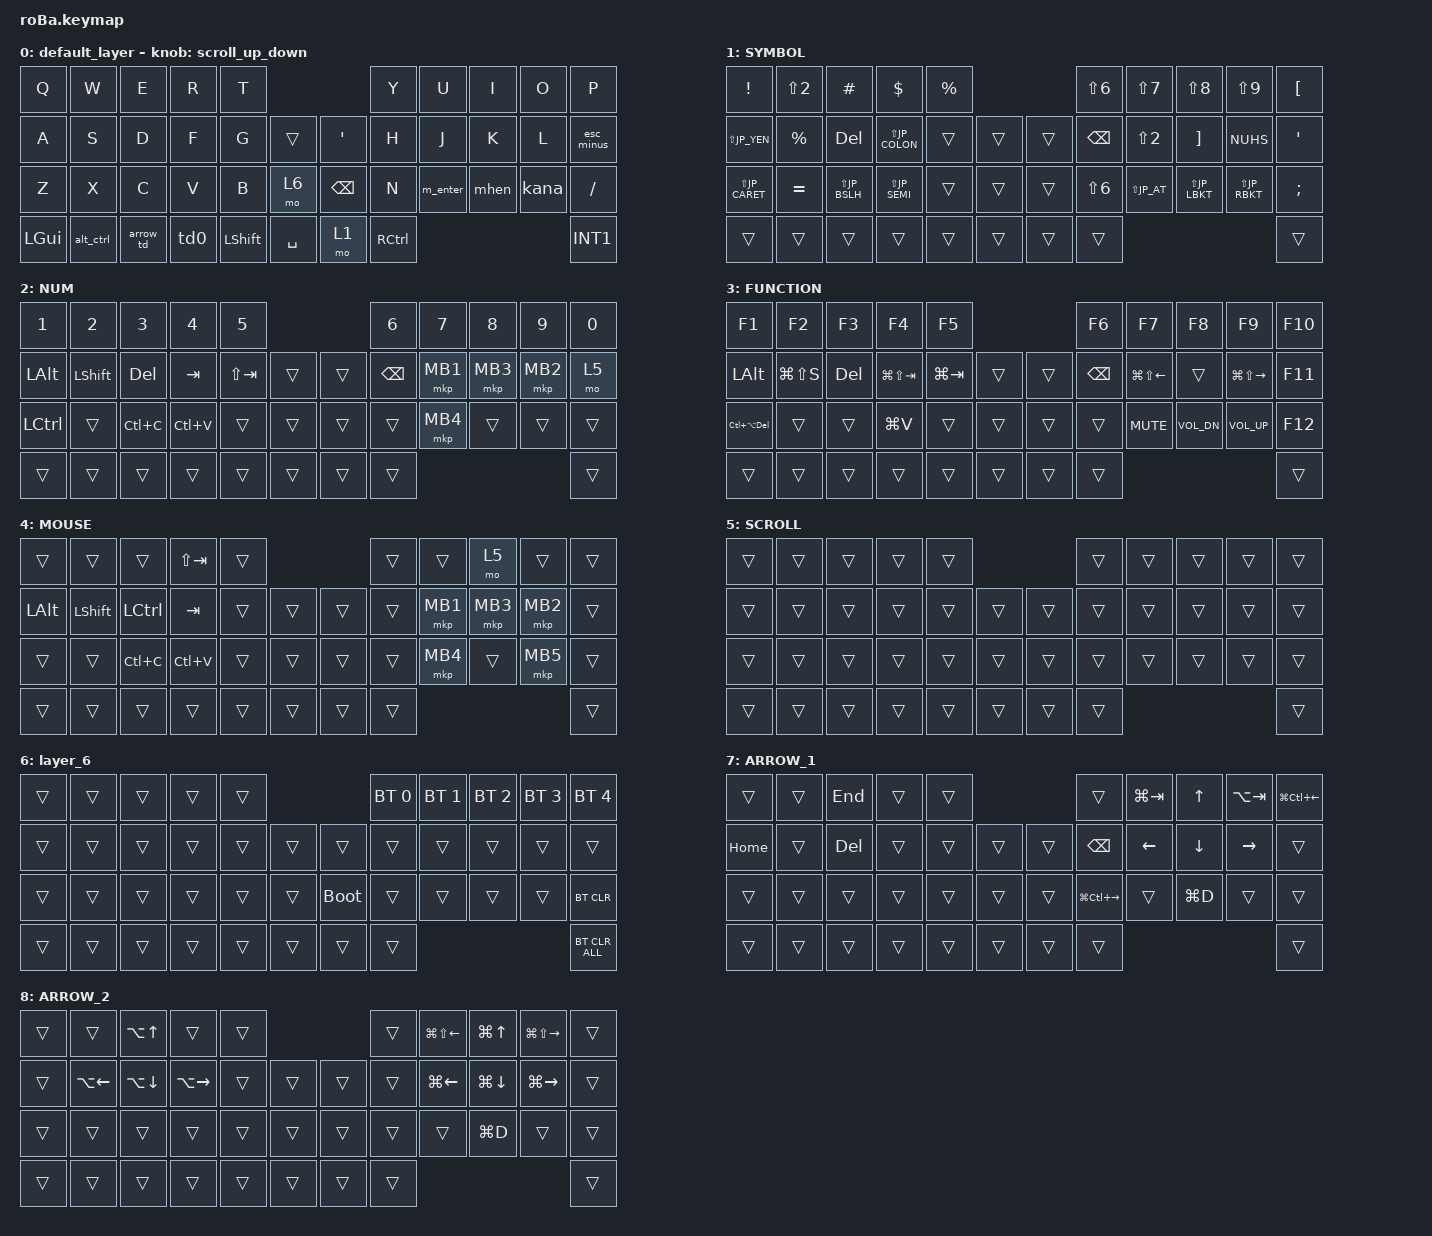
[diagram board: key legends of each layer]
#include <behaviors.dtsi>
#include <dt-bindings/zmk/bt.h>
#include <dt-bindings/zmk/keys.h>
#include <dt-bindings/zmk/pointing.h>

#define ZMK_POINTING_DEFAULT_SCRL_VAL 100

#define JP_ZKHK  GRAVE        // Zenkaku ↔ Hankaku ↔ Kanji (半角 ↔ 全角 ↔ 漢字)
#define JP_MINUS MINUS        // -
#define JP_CARET EQUAL        // ^
#define JP_YEN   INT3         // ¥
#define JP_AT    LBKT         // @
#define JP_LBKT  RBKT         // [
#define JP_EISU  CAPS         // Eisū (英数)
#define JP_SEMI  SEMI         // ;
#define JP_COLON SQT          // :
#define JP_RBKT  NUHS         // ]
#define JP_COMMA COMMA        // ,
#define JP_DOT   DOT          // .
#define JP_SLASH SLASH        // /
#define JP_BSLH  INT1         // (backslash)
#define JP_MHEN  INT5         // Muhenkan (無変換)
#define JP_HENK  INT4         // Henkan (変換)
#define JP_KANA  INT2         // Katakana ↔ Hiragana ↔ Rōmaji (カタカナ ↔ ひらがな ↔ ローマ字)
#define JP_EXCL  LS(N1)       // !
#define JP_DQT   LS(N2)       // "
#define JP_HASH  LS(N3)       // #
#define JP_DLLR  LS(N4)       // $
#define JP_PRCNT LS(N5)       // %
#define JP_AMPS  LS(N6)       // &
#define JP_SQT   LS(N7)       // '
#define JP_LPAR  LS(N8)       // (
#define JP_RPAR  LS(N9)       // )
#define JP_EQUAL LS(JP_MINUS) // =
#define JP_TILDE LS(JP_CARET) // ~
#define JP_PIPE  LS(JP_YEN)   // |
#define JP_GRAVE LS(JP_AT)    // `
#define JP_LBRC  LS(JP_LBKT)  // {
#define JP_CAPS  LS(JP_EISU)  // Caps Lock
#define JP_PLUS  LS(JP_SEMI)  // +
#define JP_ASTRK LS(JP_COLON) // *
#define JP_RBRC  LS(JP_RBKT)  // }
#define JP_LT    LS(JP_COMMA) // <
#define JP_RT    LS(JP_DOT)   // >
#define JP_QMARK LS(JP_SLASH) // ?
#define JP_UNDER LS(JP_BSLH)  // _

&mt {
    flavor = "balanced";
    quick-tap-ms = <0>;
};

&trackball {
    // automouse-layer = <4>;
    scroll-layers = <5>;

    // arrows {
    //     layers = <3>;
    //     bindings =
    //         <&kp RIGHT_ARROW>,
    //         <&kp LEFT_ARROW>,
    //         <&kp UP_ARROW>,
    //         <&kp DOWN_ARROW>;
    //     tick = <10>;
    //     wait-ms = <5>;
    //     tap-ms = <5>;
    // };
};

/ {
    combos {
        compatible = "zmk,combos";

        tab {
            bindings = <&kp TAB>;
            key-positions = <12 13>;
        };

        shift_tab {
            bindings = <&kp LS(TAB)>;
            key-positions = <12 11>;
        };

        enter {
            bindings = <&kp ENTER>;
            key-positions = <13 18>;
        };
    };

    macros {
        to_layer_0: to_layer_0 {
            compatible = "zmk,behavior-macro-one-param";
            #binding-cells = <1>;
            bindings = <&to 0 &macro_param_1to1 &kp MACRO_PLACEHOLDER>;
            label = "TO_LAYER_0";
        };
        to_0_ctrl: to_0_ctrl {
            compatible = "zmk,behavior-macro";
            #binding-cells = <0>;
            bindings
                = <&macro_press &to 0 &kp RCTRL>
                , <&macro_pause_for_release>
                , <&macro_release &to 0 &kp RCTRL>
                ;
        };
        to_0_mb1: to_0_mb1 {
            compatible = "zmk,behavior-macro";
            #binding-cells = <0>;
            bindings
                = <&macro_press &mkp MB1>
                , <&macro_pause_for_release>
                , <&macro_release &mkp MB1>
                , <&macro_tap &to 0>
                ;
        };
    };

    behaviors {
        lt_to_layer_0: lt_to_layer_0 {
            compatible = "zmk,behavior-hold-tap";
            label = "LAYER_TAP_TO_0";
            bindings = <&mo>, <&to_layer_0>;

            #binding-cells = <2>;
            tapping-term-ms = <200>;
        };

        td0: tap_dance_0 {
            compatible = "zmk,behavior-tap-dance";
            #binding-cells = <0>;
            tapping-term-ms = <200>;
            bindings = <&mo 2>, <&mo 3>;
        };

        arrow_td: arrow_td {
            compatible = "zmk,behavior-tap-dance";
            #binding-cells = <0>;
            tapping-term-ms = <200>;
            bindings = <&mo 7>, <&mo 8>;
        };

        alt_ctrl: alt_ctrl {
            compatible = "zmk,behavior-tap-dance";
            #binding-cells = <0>;
            tapping-term-ms = <200>;
            bindings = <&kp LALT>, <&kp LCTRL>;
        };

        symbol_mouse: symbol_mouse {
            compatible = "zmk,behavior-tap-dance";
            #binding-cells = <0>;
            tapping-term-ms = <200>;
            bindings = <&mo 1>, <&mo 4>;
        };

        scroll_up_down: behavior_sensor_rotate_mouse_wheel_up_down {
            compatible = "zmk,behavior-sensor-rotate";
            label = "zmk,keymap";
            #sensor-binding-cells = <0>;
            bindings = <&msc SCRL_DOWN>, <&msc SCRL_UP>;
            tap-ms = <20>;
        };

        m_enter: m_enter {
            compatible = "zmk,behavior-mod-morph";
            #binding-cells = <0>;
            bindings = <&kp M>, <&kp ENTER>;
            mods = <(MOD_RCTL)>;
        };

        esc_minus: esc_minus {
            compatible = "zmk,behavior-mod-morph";
            #binding-cells = <0>;
            bindings = <&kp MINUS>, <&kp ESC>;
            mods = <(MOD_RCTL)>;
        };

        kana: kana {
            compatible = "zmk,behavior-mod-morph";
            #binding-cells = <0>;
            bindings = <&kp DOT>, <&kp JP_KANA>;
            mods = <(MOD_RCTL)>;
        };

        mhen: mhen {
            compatible = "zmk,behavior-mod-morph";
            #binding-cells = <0>;
            bindings = <&kp COMMA>, <&kp JP_MHEN>;
            mods = <(MOD_RCTL)>;
        };

        trans_snipping: trans_snipping {
            compatible = "zmk,behavior-mod-morph";
            #binding-cells = <0>;
            bindings = <&trans>, <&kp LG(LS(S))>;
            mods = <(MOD_RCTL)>;
        };

        trans_clip_paste: trans_clip_paste {
            compatible = "zmk,behavior-mod-morph";
            #binding-cells = <0>;
            bindings = <&trans>, <&kp LG(V)>;
            mods = <(MOD_RCTL)>;
        };

        to0_mhen: to0_mhen {
            compatible = "zmk,behavior-mod-morph";
            #binding-cells = <0>;
            bindings = <&to 0>, <&kp JP_MHEN>;
            mods = <(MOD_RCTL)>;
        };

        scroll_esc: scroll_esc {
            compatible = "zmk,behavior-mod-morph";
            #binding-cells = <0>;
            bindings = <&mo 5>, <&kp ESC>;
            mods = <(MOD_RCTL)>;
        };
    };

    keymap {
        compatible = "zmk,keymap";

        default_layer {
            bindings = <
&kp Q     &kp W      &kp E      &kp R  &kp T                                   &kp Y  &kp U     &kp I  &kp O  &kp P
&kp A     &kp S      &kp D      &kp F  &kp G       &trans       &kp JP_COLON   &kp H  &kp J     &kp K  &kp L  &esc_minus
&kp Z     &kp X      &kp C      &kp V  &kp B       &mo 6        &kp BACKSPACE  &kp N  &m_enter  &mhen  &kana  &kp JP_SLASH
&kp LGUI  &alt_ctrl  &arrow_td  &td0   &kp LSHIFT  &kp SPACE    &mo 1          &kp RCTRL                      &kp JP_BSLH
            >;

            sensor-bindings = <&scroll_up_down>;
        };

        SYMBOL {
            bindings = <
&kp EXCL      &kp JP_DQT    &kp HASH      &kp DOLLAR    &kp PERCENT                        &kp JP_AMPS    &kp JP_SQT    &kp JP_LPAR  &kp JP_RPAR  &kp JP_AT
&kp JP_PIPE   &kp PERCENT   &kp DEL       &kp JP_ASTRK  &trans       &trans        &trans  &kp BACKSPACE  &kp JP_DQT    &kp JP_LBKT  &kp JP_RBKT  &kp JP_COLON
&kp JP_TILDE  &kp JP_CARET  &kp JP_UNDER  &kp JP_PLUS   &trans       &trans        &trans  &kp JP_AMPS    &kp JP_GRAVE  &kp JP_LBRC  &kp JP_RBRC  &kp JP_SEMI
&trans        &trans        &trans        &trans        &trans       &trans        &trans  &trans                                                 &trans
            >;
        };

        NUM {
            bindings = <
&kp N1     &kp N2      &kp N3     &kp N4     &kp N5                                       &kp N6         &kp N7    &kp N8    &kp N9    &kp N0
&kp LALT   &kp LSHIFT  &kp DEL    &kp TAB    &kp LS(TAB)  &trans                  &trans  &kp BACKSPACE  &mkp MB1  &mkp MB3  &mkp MB2  &mo 5
&kp LCTRL  &trans      &kp LC(C)  &kp LC(V)  &trans       &trans                  &trans  &trans         &mkp MB4  &trans    &trans    &trans
&trans     &trans      &trans     &trans     &trans       &trans                  &trans  &trans                                       &trans
            >;
        };

        FUNCTION {
            bindings = <
&kp F1           &kp F2         &kp F3   &kp F4           &kp F5                             &kp F6         &kp F7            &kp F8        &kp F9             &kp F10
&kp LALT         &kp LG(LS(S))  &kp DEL  &kp LG(LS(TAB))  &kp LG(TAB)  &trans        &trans  &kp BACKSPACE  &kp LG(LS(LEFT))  &trans        &kp LG(LS(RIGHT))  &kp F11
&kp LC(LA(DEL))  &trans         &trans   &kp LG(V)        &trans       &trans        &trans  &trans         &kp C_MUTE        &kp C_VOL_DN  &kp C_VOL_UP       &kp F12
&trans           &trans         &trans   &trans           &trans       &trans        &trans  &trans                                                            &trans
            >;
        };

        MOUSE {
            bindings = <
&trans    &trans      &trans     &kp LS(TAB)  &trans                      &trans  &trans    &mo 5     &trans    &trans
&kp LALT  &kp LSHIFT  &kp LCTRL  &kp TAB      &trans  &trans      &trans  &trans  &mkp MB1  &mkp MB3  &mkp MB2  &trans
&trans    &trans      &kp LC(C)  &kp LC(V)    &trans  &trans      &trans  &trans  &mkp MB4  &trans    &mkp MB5  &trans
&trans    &trans      &trans     &trans       &trans  &trans      &trans  &trans                                &trans
            >;
        };

        SCROLL {
            bindings = <
&trans  &trans  &trans  &trans  &trans                      &trans  &trans  &trans  &trans  &trans
&trans  &trans  &trans  &trans  &trans  &trans      &trans  &trans  &trans  &trans  &trans  &trans
&trans  &trans  &trans  &trans  &trans  &trans      &trans  &trans  &trans  &trans  &trans  &trans
&trans  &trans  &trans  &trans  &trans  &trans      &trans  &trans                          &trans
            >;
        };

        layer_6 {
            bindings = <
&trans  &trans  &trans  &trans  &trans                           &bt BT_SEL 0  &bt BT_SEL 1  &bt BT_SEL 2  &bt BT_SEL 3  &bt BT_SEL 4
&trans  &trans  &trans  &trans  &trans  &trans      &trans       &trans        &trans        &trans        &trans        &trans
&trans  &trans  &trans  &trans  &trans  &trans      &bootloader  &trans        &trans        &trans        &trans        &bt BT_CLR
&trans  &trans  &trans  &trans  &trans  &trans      &trans       &trans                                                  &bt BT_CLR_ALL
            >;
        };

        ARROW_1 {
            bindings = <
&trans    &trans  &kp END  &trans  &trans                      &trans             &kp LG(TAB)  &kp UP     &kp LA(TAB)  &kp LG(LC(LEFT))
&kp HOME  &trans  &kp DEL  &trans  &trans  &trans      &trans  &kp BACKSPACE      &kp LEFT     &kp DOWN   &kp RIGHT    &trans
&trans    &trans  &trans   &trans  &trans  &trans      &trans  &kp LG(LC(RIGHT))  &trans       &kp LG(D)  &trans       &trans
&trans    &trans  &trans   &trans  &trans  &trans      &trans  &trans                                                  &trans
            >;
        };

        ARROW_2 {
            bindings = <
&trans  &trans        &kp LA(UP)    &trans         &trans                      &trans  &kp LG(LS(LEFT))  &kp LG(UP)    &kp LG(LS(RIGHT))  &trans
&trans  &kp LA(LEFT)  &kp LA(DOWN)  &kp LA(RIGHT)  &trans  &trans      &trans  &trans  &kp LG(LEFT)      &kp LG(DOWN)  &kp LG(RIGHT)      &trans
&trans  &trans        &trans        &trans         &trans  &trans      &trans  &trans  &trans            &kp LG(D)     &trans             &trans
&trans  &trans        &trans        &trans         &trans  &trans      &trans  &trans                                                     &trans
            >;
        };
    };
};
